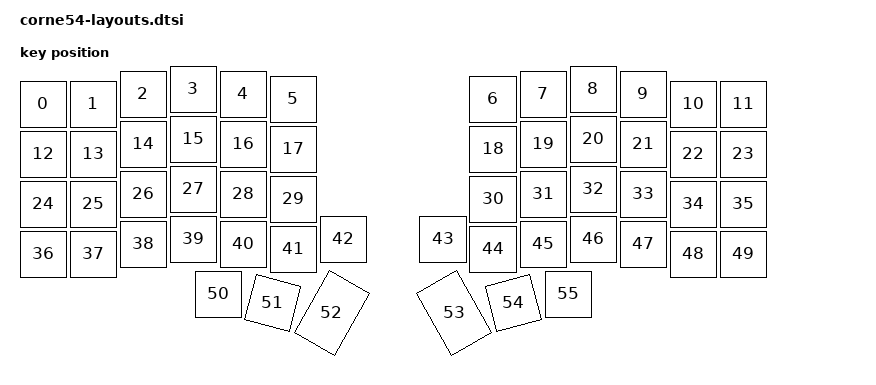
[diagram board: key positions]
#include <physical_layouts.dtsi>

/ {
    physical_layout0: physical_layout_0 {
        compatible = "zmk,physical-layout";
        display-name = "Corne54";

        keys  //                     w   h    x    y     rot    rx    ry
        = <&key_physical_attrs 100 100    0   30       0     0     0>
        , <&key_physical_attrs 100 100  100   30       0     0     0>
        , <&key_physical_attrs 100 100  200   10       0     0     0>
        , <&key_physical_attrs 100 100  300    0       0     0     0>
        , <&key_physical_attrs 100 100  400   10       0     0     0>
        , <&key_physical_attrs 100 100  500   20       0     0     0>
        , <&key_physical_attrs 100 100  900   20       0     0     0>
        , <&key_physical_attrs 100 100 1000   10       0     0     0>
        , <&key_physical_attrs 100 100 1100    0       0     0     0>
        , <&key_physical_attrs 100 100 1200   10       0     0     0>
        , <&key_physical_attrs 100 100 1300   30       0     0     0>
        , <&key_physical_attrs 100 100 1400   30       0     0     0>
        , <&key_physical_attrs 100 100    0  130       0     0     0>
        , <&key_physical_attrs 100 100  100  130       0     0     0>
        , <&key_physical_attrs 100 100  200  110       0     0     0>
        , <&key_physical_attrs 100 100  300  100       0     0     0>
        , <&key_physical_attrs 100 100  400  110       0     0     0>
        , <&key_physical_attrs 100 100  500  120       0     0     0>
        , <&key_physical_attrs 100 100  900  120       0     0     0>
        , <&key_physical_attrs 100 100 1000  110       0     0     0>
        , <&key_physical_attrs 100 100 1100  100       0     0     0>
        , <&key_physical_attrs 100 100 1200  110       0     0     0>
        , <&key_physical_attrs 100 100 1300  130       0     0     0>
        , <&key_physical_attrs 100 100 1400  130       0     0     0>
        , <&key_physical_attrs 100 100    0  230       0     0     0>
        , <&key_physical_attrs 100 100  100  230       0     0     0>
        , <&key_physical_attrs 100 100  200  210       0     0     0>
        , <&key_physical_attrs 100 100  300  200       0     0     0>
        , <&key_physical_attrs 100 100  400  210       0     0     0>
        , <&key_physical_attrs 100 100  500  220       0     0     0>
        , <&key_physical_attrs 100 100  900  220       0     0     0>
        , <&key_physical_attrs 100 100 1000  210       0     0     0>
        , <&key_physical_attrs 100 100 1100  200       0     0     0>
        , <&key_physical_attrs 100 100 1200  210       0     0     0>
        , <&key_physical_attrs 100 100 1300  230       0     0     0>
        , <&key_physical_attrs 100 100 1400  230       0     0     0>
        , <&key_physical_attrs 100 100    0  330       0     0     0>
        , <&key_physical_attrs 100 100  100  330       0     0     0>
        , <&key_physical_attrs 100 100  200  310       0     0     0>
        , <&key_physical_attrs 100 100  300  300       0     0     0>
        , <&key_physical_attrs 100 100  400  310       0     0     0>
        , <&key_physical_attrs 100 100  500  320       0     0     0>
        , <&key_physical_attrs 100 100  600  300       0     0     0>
        , <&key_physical_attrs 100 100  800  300       0     0     0>
        , <&key_physical_attrs 100 100  900  320       0     0     0>
        , <&key_physical_attrs 100 100 1000  310       0     0     0>
        , <&key_physical_attrs 100 100 1100  300       0     0     0>
        , <&key_physical_attrs 100 100 1200  310       0     0     0>
        , <&key_physical_attrs 100 100 1300  330       0     0     0>
        , <&key_physical_attrs 100 100 1400  330       0     0     0>
        , <&key_physical_attrs 100 100  350  410       0     0     0>
        , <&key_physical_attrs 100 100  475  410    1500   450   410>
        , <&key_physical_attrs 100 150  600  370    3000   540   430>
        , <&key_physical_attrs 100 150  800  370 (-3000)   960   430>
        , <&key_physical_attrs 100 100  925  410 (-1500)  1050   410>
        , <&key_physical_attrs 100 100 1050  410       0     0     0>
        ;
    };

    position_map {
        compatible = "zmk,physical-layout-position-map";

        layout_0 {
            physical-layout = <&physical_layout0>;
            positions = <>;
        };
    };
};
